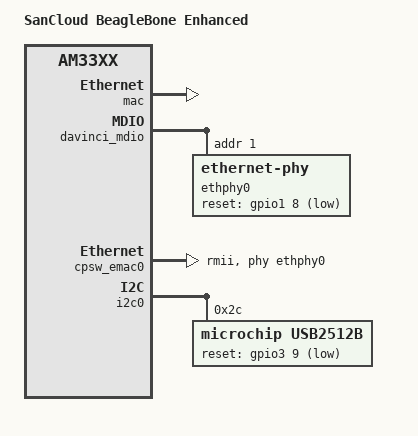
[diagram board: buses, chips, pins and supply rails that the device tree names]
// SPDX-License-Identifier: GPL-2.0-only
/*
 * Copyright (C) 2012 Texas Instruments Incorporated - https://www.ti.com/
 */
/dts-v1/;

#include "am33xx.dtsi"
#include "am335x-bone-common.dtsi"
#include "am335x-boneblack-common.dtsi"
#include <dt-bindings/interrupt-controller/irq.h>

/ {
	model = "SanCloud BeagleBone Enhanced";
	compatible = "sancloud,am335x-boneenhanced", "ti,am335x-bone-black", "ti,am335x-bone", "ti,am33xx";
};

&am33xx_pinmux {
	pinctrl-names = "default";

	cpsw_default: cpsw_default {
		pinctrl-single,pins = <
			/* Slave 1 */
			AM33XX_PADCONF(AM335X_PIN_MII1_TXD0, PIN_OUTPUT, MUX_MODE1) /* mii1_txd0.mii1_txd0 */
			AM33XX_PADCONF(AM335X_PIN_MII1_TXD1, PIN_OUTPUT, MUX_MODE1) /* mii1_txd1.mii1_txd1 */
			AM33XX_PADCONF(AM335X_PIN_MII1_TX_EN, PIN_OUTPUT, MUX_MODE1) /* mii1_txen.rmii1_txen */
			AM33XX_PADCONF(AM335X_PIN_MII1_CRS, PIN_INPUT, MUX_MODE1) /* mii1_crs.rmii1_crs_dv */
			AM33XX_PADCONF(AM335X_PIN_MII1_RXD0, PIN_INPUT, MUX_MODE1) /* mii1_rxd0.rmii1_rxd0 */
			AM33XX_PADCONF(AM335X_PIN_MII1_RXD1, PIN_INPUT, MUX_MODE1) /* mii1_rxd1.rmii1_rxd1 */
			AM33XX_PADCONF(AM335X_PIN_MII1_RX_ER, PIN_INPUT, MUX_MODE1) /* mii1_rx_err.mii1_rx_err */
			AM33XX_PADCONF(AM335X_PIN_RMII1_REF_CLK, PIN_INPUT, MUX_MODE0) /* mii1_refclk.mii1_refclk */
		>;
	};

	cpsw_sleep: cpsw_sleep {
		pinctrl-single,pins = <
			/* Slave 1 reset value */
			AM33XX_PADCONF(AM335X_PIN_MII1_TXD0, PIN_OUTPUT, MUX_MODE7) /* mii1_txd0.mii1_txd0 */
			AM33XX_PADCONF(AM335X_PIN_MII1_TXD1, PIN_OUTPUT, MUX_MODE7) /* mii1_txd1.mii1_txd1 */
			AM33XX_PADCONF(AM335X_PIN_MII1_TX_EN, PIN_OUTPUT, MUX_MODE7) /* mii1_txen.rmii1_txen */
			AM33XX_PADCONF(AM335X_PIN_MII1_CRS, PIN_INPUT, MUX_MODE7) /* mii1_crs.rmii1_crs_dv */
			AM33XX_PADCONF(AM335X_PIN_MII1_RXD0, PIN_INPUT, MUX_MODE7) /* mii1_rxd0.rmii1_rxd0 */
			AM33XX_PADCONF(AM335X_PIN_MII1_RXD1, PIN_INPUT, MUX_MODE7) /* mii1_rxd1.rmii1_rxd1 */
			AM33XX_PADCONF(AM335X_PIN_MII1_RX_ER, PIN_INPUT, MUX_MODE7) /* mii1_rx_err.mii1_rx_err */
			AM33XX_PADCONF(AM335X_PIN_RMII1_REF_CLK, PIN_INPUT, MUX_MODE7) /* mii1_refclk.mii1_refclk */
		>;
	};

	davinci_mdio_default: davinci_mdio_default {
		pinctrl-single,pins = <
			/* MDIO */
			AM33XX_PADCONF(AM335X_PIN_MDIO, PIN_INPUT_PULLUP | SLEWCTRL_FAST, MUX_MODE0)
			AM33XX_PADCONF(AM335X_PIN_MDC, PIN_OUTPUT_PULLUP, MUX_MODE0)
		>;
	};

	davinci_mdio_sleep: davinci_mdio_sleep {
		pinctrl-single,pins = <
			/* MDIO reset value */
			AM33XX_PADCONF(AM335X_PIN_MDIO, PIN_INPUT_PULLDOWN, MUX_MODE7)
			AM33XX_PADCONF(AM335X_PIN_MDC, PIN_INPUT_PULLDOWN, MUX_MODE7)
		>;
	};

	usb_hub_ctrl: usb_hub_ctrl {
		pinctrl-single,pins = <
			AM33XX_PADCONF(AM335X_PIN_MII1_TX_CLK, PIN_OUTPUT_PULLUP, MUX_MODE7)     /* mii1_txclk.gpio3_9 */
		>;
	};
};

&mac {
	pinctrl-names = "default", "sleep";
	pinctrl-0 = <&cpsw_default>;
	pinctrl-1 = <&cpsw_sleep>;
	status = "okay";
};

/delete-node/ &ethphy0;

&davinci_mdio {
	pinctrl-names = "default", "sleep";
	pinctrl-0 = <&davinci_mdio_default>;
	pinctrl-1 = <&davinci_mdio_sleep>;
	status = "okay";

	ethphy0: ethernet-phy@1 {
		reg = <1>;
		reset-gpios = <&gpio1 8 GPIO_ACTIVE_LOW>;
		reset-assert-us = <100>;
		reset-deassert-us = <10>;
	};
};

&cpsw_emac0 {
	phy-handle = <&ethphy0>;
	phy-mode = "rmii";
};

&i2c0 {
	usb2512b: usb-hub@2c {
		compatible = "microchip,usb2512b";
		reg = <0x2c>;
		reset-gpios = <&gpio3 9 GPIO_ACTIVE_LOW>;
		/* wifi on port 4 */
	};
};
